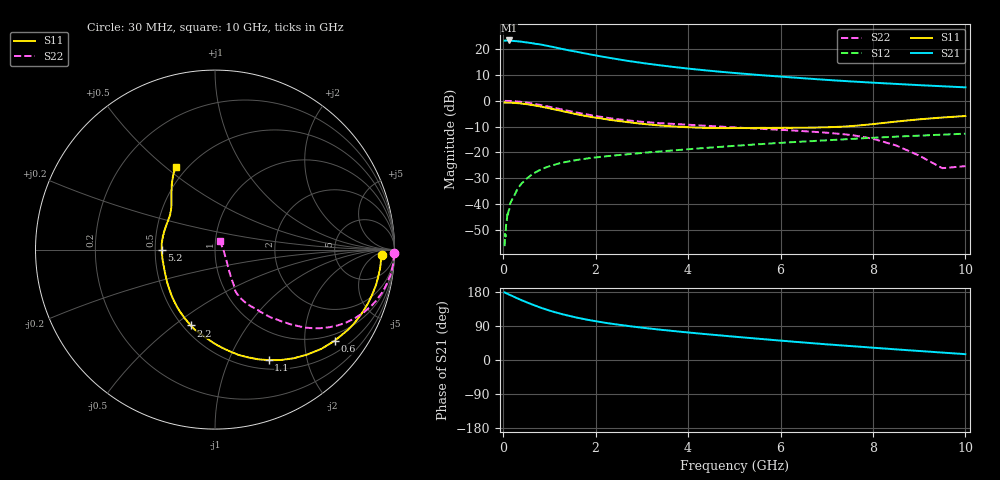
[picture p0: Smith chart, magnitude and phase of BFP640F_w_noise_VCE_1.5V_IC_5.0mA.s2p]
! Infineon Technologies  Discrete & RF Semiconductors
! BFP640F
! VCE =  1.5 V,  IC =  5.0 mA
! Common Emitter S-Parameters:  Apr 2013
# GHz  S  MA  R  50
!  f  S11  S21  S12  S22
! GHz  MAG  ANG  MAG  ANG  MAG  ANG  MAG  ANG
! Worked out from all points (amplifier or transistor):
!   99 points, 30 MHz to 10 GHz, reference 50 ohm
!   highest |S21| = 23.5 dB at 120 MHz (marker M1)
!   |S21| within 3 dB of that: start of sweep to 1.194 GHz
!   unconditionally stable (mu >= 1): 4.385 GHz to end of sweep
!   at 350 MHz: K = 0.09, MSG = 28.2 dB, |S12| = -33.2 dB
!   at 3.5 GHz: K = 0.92, MSG = 16.5 dB, |S12| = -19.5 dB
!   at 10 GHz: K = 1.11, MAG = 7.0 dB, |S12| = -12.7 dB
!   lowest NFmin = 0.52 dB at 450 MHz
!   S11 on the Smith chart (normalised r, x): 30 MHz: 23, -10; 600 MHz: 0.81, -2.75; 1.1 GHz: 0.61, -1.42; 2.2 GHz: 0.55, -0.58; 5.2 GHz: 0.54, -0.00; 10 GHz: 0.44, +0.54
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0.03  0.9292 -1.9  14.77 178.2  0.0015 100.9  0.9992 -1.2
0.04  0.9292 -2.5  14.71 177.7  0.0026 94.6  0.9982 -1.6
0.05  0.9278 -3.3  14.91 177.3  0.0023 79.9  0.9992 -2.1
0.06  0.9265 -3.8  14.93 176.4  0.0038 105.0  0.9978 -2.4
0.12  0.9234 -7.7  14.95 173.0  0.0074 84.6  0.9955 -4.9
0.35  0.8957 -22.2  14.25 160.3  0.0218 79.3  0.964 -14.0
0.6  0.838 -37.3  13.35 147.7  0.0359 72.0  0.8985 -23.0
0.8  0.7779 -48.8  12.5 138.5  0.0456 66.6  0.835 -29.2
0.9  0.7475 -54.1  12.02 134.4  0.05 64.3  0.8001 -32.0
1.1  0.6849 -64.1  11.06 126.8  0.0571 59.7  0.7326 -36.7
1.4  0.6006 -77.5  9.696 117.3  0.0661 55.0  0.6433 -41.9
1.7  0.5265 -89.8  8.6 109.2  0.0734 51.5  0.5685 -45.8
2.2  0.4438 -107.7  7.105 98.4  0.0834 47.9  0.4774 -51.2
2.8  0.3758 -125.5  5.807 88.3  0.0939 45.5  0.4086 -55.1
3.4  0.3322 -141.1  4.908 80.0  0.1042 44.0  0.3688 -58.0
4.2  0.3027 -159.2  4.067 70.4  0.1187 42.1  0.3361 -60.4
5.1  0.2969 -177.3  3.428 60.5  0.1356 39.7  0.3024 -62.4
5.2  0.2966 -179.2  3.37 59.5  0.1373 39.5  0.298 -62.4
6.7  0.3026 153.9  2.674 44.2  0.1657 34.3  0.2511 -63.7
8.5  0.3961 127.8  2.137 28.0  0.2018 27.1  0.1362 -55.7
9.5  0.4752 119.4  1.924 19.6  0.2207 22.7  0.0492 -8.8
10  0.5082 115.6  1.834 15.4  0.2308 20.3  0.0539 58.3
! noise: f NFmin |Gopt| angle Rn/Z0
0.45  0.52  0.39  9  0.12
0.9  0.54  0.39  20  0.12
1.5  0.58  0.37  28  0.13
1.9  0.6  0.35  43  0.13
2.4  0.65  0.32  59  0.14
3.5  0.75  0.26  79  0.15
5.5  0.99  0.21  151  0.17
10  1.71  0.44  -104  0.36
